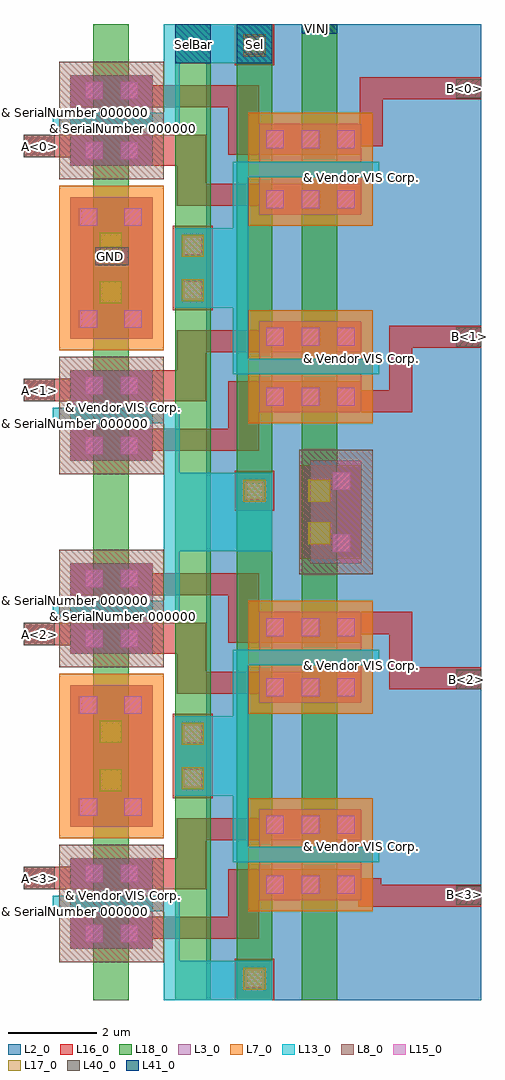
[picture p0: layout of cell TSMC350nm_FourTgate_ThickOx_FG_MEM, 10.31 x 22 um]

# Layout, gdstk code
import gdstk
lib = gdstk.Library(unit=1e-6, precision=1e-09)
def R(c, l, rs):  # rectangles x0, y0, x1, y1
    for r in rs: c.add(gdstk.rectangle(r[:2], r[2:], *l))
def A(c, l, x, y, w, h, nx, ny, dx, dy):  # array of equal rectangles
    R(c, l, [(x+i*dx, y+j*dy, x+i*dx+w, y+j*dy+h) for i in range(nx) for j in range(ny)])
L2_0 = (2, 0)
L3_0 = (3, 0)
L7_0 = (7, 0)
L8_0 = (8, 0)
L13_0 = (13, 0)
L15_0 = (15, 0)
L16_0 = (16, 0)
L17_0 = (17, 0)
L18_0 = (18, 0)
L40_0 = (40, 0)
L41_0 = (41, 0)

prog_periph_via2_cdns_73 = lib.new_cell('prog_periph_VIA2_CDNS_739479611910')
R(prog_periph_via2_cdns_73, L16_0, [(-0.45,-0.45,0.45,0.45)])
R(prog_periph_via2_cdns_73, L17_0, [(-0.25,-0.25,0.25,0.25)])
R(prog_periph_via2_cdns_73, L18_0, [(-0.4,-0.4,0.4,0.4)])

m1_poly1__190324780_cdns = lib.new_cell('M1_POLY1$$190324780_CDNS_739479611911')
R(m1_poly1__190324780_cdns, L13_0, [(-0.4,-0.4,0.4,0.4)])
R(m1_poly1__190324780_cdns, L15_0, [(-0.2,-0.2,0.2,0.2)])
R(m1_poly1__190324780_cdns, L16_0, [(-0.45,-0.45,0.45,0.45)])

tsmc350nm_fourtgate_thic = lib.new_cell('TSMC350nm_FourTgate_ThickOx_FG_MEM')
A(tsmc350nm_fourtgate_thic, L2_0, 4.11, 0, 6.2, 5.5, 1, 4, 0, 5.5)
R(tsmc350nm_fourtgate_thic, L3_0, [(1.05,1.15,2.91,1.85), (1.05,1.15,2.91,1.85), (1.05,1.85,2.91,2.5), (5.31,2.25,7.61,2.95), (5.31,2.25,7.61,2.95), (1.05,2.5,2.91,3.2), (1.05,2.5,2.91,3.2), (5.31,2.95,7.61,3.6), (5.31,3.6,7.61,4.3), (5.31,3.6,7.61,4.3), (1.05,3.9,2.91,4.8), (1.05,4.8,2.91,6.2), (1.05,6.2,2.91,7.1), (5.31,6.7,7.61,7.4), (5.31,6.7,7.61,7.4), (5.31,7.4,7.61,8.05), (1.05,7.8,2.91,8.5), (1.05,7.8,2.91,8.5), (5.31,8.05,7.61,8.75), (5.31,8.05,7.61,8.75), (1.05,8.5,2.91,9.15), (1.05,9.15,2.91,9.85), (1.05,9.15,2.91,9.85), (6.46,9.85,7.61,10.75), (6.46,10.75,7.61,11.25), (6.46,11.25,7.61,12.15), (1.05,12.15,2.91,12.85), (1.05,12.15,2.91,12.85), (1.05,12.85,2.91,13.5), (5.31,13.25,7.61,13.95), (5.31,13.25,7.61,13.95), (1.05,13.5,2.91,14.2), (1.05,13.5,2.91,14.2), (5.31,13.95,7.61,14.6), (5.31,14.6,7.61,15.3), (5.31,14.6,7.61,15.3), (1.05,14.9,2.91,15.8), (1.05,15.8,2.91,17.2), (1.05,17.2,2.91,18.1), (5.31,17.7,7.61,18.4), (5.31,17.7,7.61,18.4), (5.31,18.4,7.61,19.05), (1.05,18.8,2.91,19.5), (1.05,18.8,2.91,19.5), (5.31,19.05,7.61,19.75), (5.31,19.05,7.61,19.75), (1.05,19.5,2.91,20.15), (1.05,20.15,2.91,20.85), (1.05,20.15,2.91,20.85)])
R(tsmc350nm_fourtgate_thic, L7_0, [(5.06,2,7.86,4.55), (0.8,3.65,3.16,5.5), (0.8,5.5,3.16,7.35), (5.06,6.45,7.86,9), (5.06,13,7.86,15.55), (0.8,14.65,3.16,16.5), (0.8,16.5,3.16,18.35), (5.06,17.45,7.86,20)])
R(tsmc350nm_fourtgate_thic, L8_0, [(0.8,0.85,3.16,3.5), (0.8,7.5,3.16,10.15), (6.21,9.6,7.86,11), (6.21,11,7.86,12.4), (0.8,11.85,3.16,14.5), (0.8,18.5,3.16,21.15)])
R(tsmc350nm_fourtgate_thic, L13_0, [(3.16,0,5.6,0.08), (3.16,0.05,3.51,2.35), (3.51,0.08,4.8,0.88), (0.65,2,3.31,2.35), (4.71,3.1,5.06,5.4), (4.91,3.1,8.01,3.45), (3.52,4.6,5.06,5.4), (3.41,5.4,5.06,5.6), (3.52,5.6,5.06,6.4), (4.71,5.6,5.06,7.9), (4.91,7.55,8.01,7.9), (0.65,8.65,3.31,9), (3.16,8.65,3.51,10.95), (3.51,10.12,5.6,10.92), (3.16,10.92,5.6,11), (3.16,11,5.6,11.08), (3.16,11.05,3.51,13.35), (3.51,11.08,4.8,11.88), (0.65,13,3.31,13.35), (4.71,14.1,5.06,16.4), (4.91,14.1,8.01,14.45), (3.52,15.6,5.06,16.4), (3.41,16.4,5.06,16.6), (3.52,16.6,5.06,17.4), (4.71,16.6,5.06,18.9), (4.91,18.55,8.01,18.9), (0.65,19.65,3.31,20), (3.16,19.65,3.51,21.95), (3.51,21.12,4.8,21.92), (3.16,21.92,5.6,22)])
A(tsmc350nm_fourtgate_thic, L15_0, 5.46, 2.4, 0.4, 0.4, 3, 2, 0.8, 1.35)
A(tsmc350nm_fourtgate_thic, L15_0, 5.46, 6.85, 0.4, 0.4, 3, 2, 0.8, 1.35)
A(tsmc350nm_fourtgate_thic, L15_0, 5.46, 13.4, 0.4, 0.4, 3, 2, 0.8, 1.35)
A(tsmc350nm_fourtgate_thic, L15_0, 5.46, 17.85, 0.4, 0.4, 3, 2, 0.8, 1.35)
R(tsmc350nm_fourtgate_thic, L15_0, [(1.38,1.3,1.78,1.7), (2.18,1.3,2.58,1.7), (1.38,2.65,1.78,3.05), (2.18,2.65,2.58,3.05), (1.26,4.15,1.66,4.55), (2.26,4.15,2.66,4.55), (1.26,6.45,1.66,6.85), (2.26,6.45,2.66,6.85), (1.38,7.95,1.78,8.35), (2.18,7.95,2.58,8.35), (1.38,9.3,1.78,9.7), (2.18,9.3,2.58,9.7), (6.96,10.1,7.36,10.5), (6.96,11.5,7.36,11.9), (1.38,12.3,1.78,12.7), (2.18,12.3,2.58,12.7), (1.38,13.65,1.78,14.05), (2.18,13.65,2.58,14.05), (1.26,15.15,1.66,15.55), (2.26,15.15,2.66,15.55), (1.26,17.45,1.66,17.85), (2.26,17.45,2.66,17.85), (1.38,18.95,1.78,19.35), (2.18,18.95,2.58,19.35), (1.38,20.3,1.78,20.7), (2.18,20.3,2.58,20.7)])
A(tsmc350nm_fourtgate_thic, L16_0, 0, 2.5, 4.11, 0.5, 1, 4, 0, 5.5)
R(tsmc350nm_fourtgate_thic, L16_0, [(4.75,0,5.65,0.03), (1.05,1.15,2.91,1.85), (1.05,1.38,5.31,1.88), (4.61,1.8,5.31,2.95), (7.54,2.1,8.06,2.6), (7.54,2.1,10.31,2.6), (5.31,2.25,7.61,2.95), (5.31,2.25,8.06,2.75), (1.05,2.5,2.91,3.2), (2.11,2.5,4.11,3.2), (3.46,2.5,4.11,4.1), (4.11,3.6,5.31,4.1), (5.31,3.6,7.61,4.3), (1.05,3.9,2.91,5.5), (1.05,5,2.91,5.5), (3.36,5.45,4.26,5.55), (1.05,5.5,2.91,6), (1.05,5.5,2.91,7.1), (5.31,6.7,7.61,7.4), (3.46,6.9,4.11,8.5), (4.11,6.9,5.31,7.4), (8.24,7,10.31,7.5), (8.24,7.19,8.76,8.67), (1.05,7.8,2.91,8.5), (2.11,7.8,4.11,8.5), (4.61,8.05,5.31,9.2), (5.31,8.05,7.61,8.75), (5.31,8.25,8.76,8.75), (1.05,9.12,5.31,9.62), (1.05,9.15,2.91,9.85), (6.21,9.95,7.51,10.65), (7.51,9.95,7.61,10.5), (6.21,10.5,7.61,11), (6.21,11,7.61,11.5), (6.21,11.35,7.51,12.05), (7.51,11.5,7.61,12.05), (1.05,12.15,2.91,12.85), (1.05,12.38,5.31,12.88), (4.61,12.8,5.31,13.95), (5.31,13.25,7.61,13.95), (5.31,13.25,8.76,13.75), (1.05,13.5,2.91,14.2), (2.11,13.5,4.11,14.2), (3.46,13.5,4.11,15.1), (8.24,13.75,8.76,15.2), (4.11,14.6,5.31,15.1), (5.31,14.6,7.61,15.3), (8.24,14.7,10.31,15.2), (1.05,14.9,2.91,16.5), (1.05,16,2.91,16.5), (3.36,16.45,4.26,16.55), (1.05,16.5,2.91,17), (1.05,16.5,2.91,18.1), (5.31,17.7,7.61,18.4), (3.46,17.9,4.11,19.5), (4.11,17.9,5.31,18.4), (1.05,18.8,2.91,19.5), (2.11,18.8,4.11,19.5), (4.61,19.05,5.31,20.2), (5.31,19.05,7.61,19.75), (5.31,19.25,8.09,19.75), (7.57,19.25,8.09,20.8), (1.05,20.12,5.31,20.62), (1.05,20.15,2.91,20.85), (7.57,20.3,10.31,20.8), (4.75,21.97,5.65,22)])
A(tsmc350nm_fourtgate_thic, L18_0, 1.56, 0, 0.8, 5.5, 1, 4, 0, 5.5)
A(tsmc350nm_fourtgate_thic, L18_0, 3.41, 0, 0.8, 5.5, 1, 4, 0, 5.5)
A(tsmc350nm_fourtgate_thic, L18_0, 4.8, 0, 0.8, 5.5, 1, 4, 0, 5.5)
A(tsmc350nm_fourtgate_thic, L18_0, 6.26, 0, 0.8, 5.5, 1, 4, 0, 5.5)
A(tsmc350nm_fourtgate_thic, L40_0, 0, 2.5, 0.7, 0.5, 1, 4, 0, 5.5)
R(tsmc350nm_fourtgate_thic, L40_0, [(9.75,2.15,10.31,2.58), (9.75,7.01,10.31,7.44), (9.75,14.73,10.31,15.16), (1.61,16.56,2.36,16.97), (9.75,20.33,10.31,20.76)])
R(tsmc350nm_fourtgate_thic, L41_0, [(3.41,21.12,4.21,22), (4.8,21.12,5.6,22), (6.26,21.78,7.06,22)])
tsmc350nm_fourtgate_thic.add(gdstk.Reference(prog_periph_via2_cdns_73, (5.2,0.48), x_reflection=True))
tsmc350nm_fourtgate_thic.add(gdstk.Reference(prog_periph_via2_cdns_73, (3.81,6)))
tsmc350nm_fourtgate_thic.add(gdstk.Reference(prog_periph_via2_cdns_73, (6.66,10.52)))
tsmc350nm_fourtgate_thic.add(gdstk.Reference(prog_periph_via2_cdns_73, (1.96,6.05)))
tsmc350nm_fourtgate_thic.add(gdstk.Reference(prog_periph_via2_cdns_73, (3.81,5), x_reflection=True))
tsmc350nm_fourtgate_thic.add(gdstk.Reference(prog_periph_via2_cdns_73, (1.96,4.95), x_reflection=True))
tsmc350nm_fourtgate_thic.add(gdstk.Reference(prog_periph_via2_cdns_73, (5.2,21.52)))
tsmc350nm_fourtgate_thic.add(gdstk.Reference(prog_periph_via2_cdns_73, (3.81,17)))
tsmc350nm_fourtgate_thic.add(gdstk.Reference(prog_periph_via2_cdns_73, (5.2,11.48), x_reflection=True))
tsmc350nm_fourtgate_thic.add(gdstk.Reference(prog_periph_via2_cdns_73, (3.81,16), x_reflection=True))
tsmc350nm_fourtgate_thic.add(gdstk.Reference(prog_periph_via2_cdns_73, (1.96,17.05)))
tsmc350nm_fourtgate_thic.add(gdstk.Reference(prog_periph_via2_cdns_73, (6.66,11.48), x_reflection=True))
tsmc350nm_fourtgate_thic.add(gdstk.Reference(prog_periph_via2_cdns_73, (1.96,15.95), x_reflection=True))
tsmc350nm_fourtgate_thic.add(gdstk.Reference(m1_poly1__190324780_cdns, (3.81,6)))
tsmc350nm_fourtgate_thic.add(gdstk.Reference(m1_poly1__190324780_cdns, (5.2,0.48), x_reflection=True))
tsmc350nm_fourtgate_thic.add(gdstk.Reference(m1_poly1__190324780_cdns, (3.81,5), x_reflection=True))
tsmc350nm_fourtgate_thic.add(gdstk.Reference(m1_poly1__190324780_cdns, (5.2,21.52)))
tsmc350nm_fourtgate_thic.add(gdstk.Reference(m1_poly1__190324780_cdns, (3.81,17)))
tsmc350nm_fourtgate_thic.add(gdstk.Reference(m1_poly1__190324780_cdns, (5.2,11.48), x_reflection=True))
tsmc350nm_fourtgate_thic.add(gdstk.Reference(m1_poly1__190324780_cdns, (3.81,16), x_reflection=True))
tsmc350nm_fourtgate_thic.add(gdstk.Label('& SerialNumber 000000', (1.05,9), layer=63, texttype=63))
tsmc350nm_fourtgate_thic.add(gdstk.Label('& Distributor VIS', (1.05,9), layer=63, texttype=63))
tsmc350nm_fourtgate_thic.add(gdstk.Label('& Metric 1', (1.05,9), layer=63, texttype=63))
tsmc350nm_fourtgate_thic.add(gdstk.Label('& Version    \t  1.7A', (1.05,9), layer=63, texttype=63))
tsmc350nm_fourtgate_thic.add(gdstk.Label('& PDKName     vis35cv', (1.05,9), layer=63, texttype=63))
tsmc350nm_fourtgate_thic.add(gdstk.Label('& Vendor VIS Corp.', (1.05,9), layer=63, texttype=63))
tsmc350nm_fourtgate_thic.add(gdstk.Label('& SerialNumber 000000', (2.25,8.65), layer=63, texttype=63))
tsmc350nm_fourtgate_thic.add(gdstk.Label('& Distributor VIS', (2.25,8.65), layer=63, texttype=63))
tsmc350nm_fourtgate_thic.add(gdstk.Label('& Metric 1', (2.25,8.65), layer=63, texttype=63))
tsmc350nm_fourtgate_thic.add(gdstk.Label('& Version    \t  1.7A', (2.25,8.65), layer=63, texttype=63))
tsmc350nm_fourtgate_thic.add(gdstk.Label('& PDKName     vis35cv', (2.25,8.65), layer=63, texttype=63))
tsmc350nm_fourtgate_thic.add(gdstk.Label('& Vendor VIS Corp.', (2.25,8.65), layer=63, texttype=63))
tsmc350nm_fourtgate_thic.add(gdstk.Label('& Vendor VIS Corp.', (7.61,7.55), layer=63, texttype=63))
tsmc350nm_fourtgate_thic.add(gdstk.Label('& PDKName     vis35cv', (7.61,7.55), layer=63, texttype=63))
tsmc350nm_fourtgate_thic.add(gdstk.Label('& Version    \t  1.7A', (7.61,7.55), layer=63, texttype=63))
tsmc350nm_fourtgate_thic.add(gdstk.Label('& Metric 1', (7.61,7.55), layer=63, texttype=63))
tsmc350nm_fourtgate_thic.add(gdstk.Label('& Distributor VIS', (7.61,7.55), layer=63, texttype=63))
tsmc350nm_fourtgate_thic.add(gdstk.Label('& SerialNumber 000000', (7.61,7.55), layer=63, texttype=63))
tsmc350nm_fourtgate_thic.add(gdstk.Label('& Vendor VIS Corp.', (7.61,3.45), layer=63, texttype=63))
tsmc350nm_fourtgate_thic.add(gdstk.Label('& PDKName     vis35cv', (7.61,3.45), layer=63, texttype=63))
tsmc350nm_fourtgate_thic.add(gdstk.Label('& Version    \t  1.7A', (7.61,3.45), layer=63, texttype=63))
tsmc350nm_fourtgate_thic.add(gdstk.Label('& Metric 1', (7.61,3.45), layer=63, texttype=63))
tsmc350nm_fourtgate_thic.add(gdstk.Label('& Distributor VIS', (7.61,3.45), layer=63, texttype=63))
tsmc350nm_fourtgate_thic.add(gdstk.Label('& SerialNumber 000000', (7.61,3.45), layer=63, texttype=63))
tsmc350nm_fourtgate_thic.add(gdstk.Label('& SerialNumber 000000', (1.05,2), layer=63, texttype=63))
tsmc350nm_fourtgate_thic.add(gdstk.Label('& Vendor VIS Corp.', (1.05,2), layer=63, texttype=63))
tsmc350nm_fourtgate_thic.add(gdstk.Label('& PDKName     vis35cv', (1.05,2), layer=63, texttype=63))
tsmc350nm_fourtgate_thic.add(gdstk.Label('& Version    \t  1.7A', (1.05,2), layer=63, texttype=63))
tsmc350nm_fourtgate_thic.add(gdstk.Label('& Metric 1', (1.05,2), layer=63, texttype=63))
tsmc350nm_fourtgate_thic.add(gdstk.Label('& Distributor VIS', (1.05,2), layer=63, texttype=63))
tsmc350nm_fourtgate_thic.add(gdstk.Label('& Vendor VIS Corp.', (2.25,2.35), layer=63, texttype=63))
tsmc350nm_fourtgate_thic.add(gdstk.Label('& PDKName     vis35cv', (2.25,2.35), layer=63, texttype=63))
tsmc350nm_fourtgate_thic.add(gdstk.Label('& Version    \t  1.7A', (2.25,2.35), layer=63, texttype=63))
tsmc350nm_fourtgate_thic.add(gdstk.Label('& Metric 1', (2.25,2.35), layer=63, texttype=63))
tsmc350nm_fourtgate_thic.add(gdstk.Label('& Distributor VIS', (2.25,2.35), layer=63, texttype=63))
tsmc350nm_fourtgate_thic.add(gdstk.Label('& SerialNumber 000000', (2.25,2.35), layer=63, texttype=63))
tsmc350nm_fourtgate_thic.add(gdstk.Label('& SerialNumber 000000', (1.05,20), layer=63, texttype=63))
tsmc350nm_fourtgate_thic.add(gdstk.Label('& Distributor VIS', (1.05,20), layer=63, texttype=63))
tsmc350nm_fourtgate_thic.add(gdstk.Label('& Metric 1', (1.05,20), layer=63, texttype=63))
tsmc350nm_fourtgate_thic.add(gdstk.Label('& Version    \t  1.7A', (1.05,20), layer=63, texttype=63))
tsmc350nm_fourtgate_thic.add(gdstk.Label('& PDKName     vis35cv', (1.05,20), layer=63, texttype=63))
tsmc350nm_fourtgate_thic.add(gdstk.Label('& Vendor VIS Corp.', (1.05,20), layer=63, texttype=63))
tsmc350nm_fourtgate_thic.add(gdstk.Label('& SerialNumber 000000', (2.25,19.65), layer=63, texttype=63))
tsmc350nm_fourtgate_thic.add(gdstk.Label('& Distributor VIS', (2.25,19.65), layer=63, texttype=63))
tsmc350nm_fourtgate_thic.add(gdstk.Label('& Metric 1', (2.25,19.65), layer=63, texttype=63))
tsmc350nm_fourtgate_thic.add(gdstk.Label('& Version    \t  1.7A', (2.25,19.65), layer=63, texttype=63))
tsmc350nm_fourtgate_thic.add(gdstk.Label('& PDKName     vis35cv', (2.25,19.65), layer=63, texttype=63))
tsmc350nm_fourtgate_thic.add(gdstk.Label('& Vendor VIS Corp.', (2.25,19.65), layer=63, texttype=63))
tsmc350nm_fourtgate_thic.add(gdstk.Label('& Vendor VIS Corp.', (7.61,18.55), layer=63, texttype=63))
tsmc350nm_fourtgate_thic.add(gdstk.Label('& PDKName     vis35cv', (7.61,18.55), layer=63, texttype=63))
tsmc350nm_fourtgate_thic.add(gdstk.Label('& Version    \t  1.7A', (7.61,18.55), layer=63, texttype=63))
tsmc350nm_fourtgate_thic.add(gdstk.Label('& Metric 1', (7.61,18.55), layer=63, texttype=63))
tsmc350nm_fourtgate_thic.add(gdstk.Label('& Distributor VIS', (7.61,18.55), layer=63, texttype=63))
tsmc350nm_fourtgate_thic.add(gdstk.Label('& SerialNumber 000000', (7.61,18.55), layer=63, texttype=63))
tsmc350nm_fourtgate_thic.add(gdstk.Label('& Vendor VIS Corp.', (7.61,14.45), layer=63, texttype=63))
tsmc350nm_fourtgate_thic.add(gdstk.Label('& PDKName     vis35cv', (7.61,14.45), layer=63, texttype=63))
tsmc350nm_fourtgate_thic.add(gdstk.Label('& Version    \t  1.7A', (7.61,14.45), layer=63, texttype=63))
tsmc350nm_fourtgate_thic.add(gdstk.Label('& Metric 1', (7.61,14.45), layer=63, texttype=63))
tsmc350nm_fourtgate_thic.add(gdstk.Label('& Distributor VIS', (7.61,14.45), layer=63, texttype=63))
tsmc350nm_fourtgate_thic.add(gdstk.Label('& SerialNumber 000000', (7.61,14.45), layer=63, texttype=63))
tsmc350nm_fourtgate_thic.add(gdstk.Label('& SerialNumber 000000', (1.05,13), layer=63, texttype=63))
tsmc350nm_fourtgate_thic.add(gdstk.Label('& Vendor VIS Corp.', (1.05,13), layer=63, texttype=63))
tsmc350nm_fourtgate_thic.add(gdstk.Label('& PDKName     vis35cv', (1.05,13), layer=63, texttype=63))
tsmc350nm_fourtgate_thic.add(gdstk.Label('& Version    \t  1.7A', (1.05,13), layer=63, texttype=63))
tsmc350nm_fourtgate_thic.add(gdstk.Label('& Metric 1', (1.05,13), layer=63, texttype=63))
tsmc350nm_fourtgate_thic.add(gdstk.Label('& Distributor VIS', (1.05,13), layer=63, texttype=63))
tsmc350nm_fourtgate_thic.add(gdstk.Label('& Vendor VIS Corp.', (2.25,13.35), layer=63, texttype=63))
tsmc350nm_fourtgate_thic.add(gdstk.Label('& PDKName     vis35cv', (2.25,13.35), layer=63, texttype=63))
tsmc350nm_fourtgate_thic.add(gdstk.Label('& Version    \t  1.7A', (2.25,13.35), layer=63, texttype=63))
tsmc350nm_fourtgate_thic.add(gdstk.Label('& Metric 1', (2.25,13.35), layer=63, texttype=63))
tsmc350nm_fourtgate_thic.add(gdstk.Label('& Distributor VIS', (2.25,13.35), layer=63, texttype=63))
tsmc350nm_fourtgate_thic.add(gdstk.Label('& SerialNumber 000000', (2.25,13.35), layer=63, texttype=63))
tsmc350nm_fourtgate_thic.add(gdstk.Label('& SerialNumber 000000', (1.05,9), layer=16, texttype=0))
tsmc350nm_fourtgate_thic.add(gdstk.Label('& Distributor VIS', (1.05,9), layer=16, texttype=0))
tsmc350nm_fourtgate_thic.add(gdstk.Label('& Metric 1', (1.05,9), layer=16, texttype=0))
tsmc350nm_fourtgate_thic.add(gdstk.Label('& Version    \t  1.7A', (1.05,9), layer=16, texttype=0))
tsmc350nm_fourtgate_thic.add(gdstk.Label('& PDKName     vis35cv', (1.05,9), layer=16, texttype=0))
tsmc350nm_fourtgate_thic.add(gdstk.Label('& Vendor VIS Corp.', (1.05,9), layer=16, texttype=0))
tsmc350nm_fourtgate_thic.add(gdstk.Label('& SerialNumber 000000', (2.25,8.65), layer=16, texttype=0))
tsmc350nm_fourtgate_thic.add(gdstk.Label('& Distributor VIS', (2.25,8.65), layer=16, texttype=0))
tsmc350nm_fourtgate_thic.add(gdstk.Label('& Metric 1', (2.25,8.65), layer=16, texttype=0))
tsmc350nm_fourtgate_thic.add(gdstk.Label('& Version    \t  1.7A', (2.25,8.65), layer=16, texttype=0))
tsmc350nm_fourtgate_thic.add(gdstk.Label('& PDKName     vis35cv', (2.25,8.65), layer=16, texttype=0))
tsmc350nm_fourtgate_thic.add(gdstk.Label('& Vendor VIS Corp.', (2.25,8.65), layer=16, texttype=0))
tsmc350nm_fourtgate_thic.add(gdstk.Label('& SerialNumber 000000', (7.61,7.55), layer=16, texttype=0))
tsmc350nm_fourtgate_thic.add(gdstk.Label('& Vendor VIS Corp.', (7.61,7.55), layer=16, texttype=0))
tsmc350nm_fourtgate_thic.add(gdstk.Label('& PDKName     vis35cv', (7.61,7.55), layer=16, texttype=0))
tsmc350nm_fourtgate_thic.add(gdstk.Label('& Version    \t  1.7A', (7.61,7.55), layer=16, texttype=0))
tsmc350nm_fourtgate_thic.add(gdstk.Label('& Metric 1', (7.61,7.55), layer=16, texttype=0))
tsmc350nm_fourtgate_thic.add(gdstk.Label('& Distributor VIS', (7.61,7.55), layer=16, texttype=0))
tsmc350nm_fourtgate_thic.add(gdstk.Label('& SerialNumber 000000', (1.05,2), layer=16, texttype=0))
tsmc350nm_fourtgate_thic.add(gdstk.Label('& Distributor VIS', (1.05,2), layer=16, texttype=0))
tsmc350nm_fourtgate_thic.add(gdstk.Label('& Metric 1', (1.05,2), layer=16, texttype=0))
tsmc350nm_fourtgate_thic.add(gdstk.Label('& Version    \t  1.7A', (1.05,2), layer=16, texttype=0))
tsmc350nm_fourtgate_thic.add(gdstk.Label('& PDKName     vis35cv', (1.05,2), layer=16, texttype=0))
tsmc350nm_fourtgate_thic.add(gdstk.Label('& Vendor VIS Corp.', (1.05,2), layer=16, texttype=0))
tsmc350nm_fourtgate_thic.add(gdstk.Label('& SerialNumber 000000', (2.25,2.35), layer=16, texttype=0))
tsmc350nm_fourtgate_thic.add(gdstk.Label('& Distributor VIS', (2.25,2.35), layer=16, texttype=0))
tsmc350nm_fourtgate_thic.add(gdstk.Label('& Metric 1', (2.25,2.35), layer=16, texttype=0))
tsmc350nm_fourtgate_thic.add(gdstk.Label('& Version    \t  1.7A', (2.25,2.35), layer=16, texttype=0))
tsmc350nm_fourtgate_thic.add(gdstk.Label('& PDKName     vis35cv', (2.25,2.35), layer=16, texttype=0))
tsmc350nm_fourtgate_thic.add(gdstk.Label('& Vendor VIS Corp.', (2.25,2.35), layer=16, texttype=0))
tsmc350nm_fourtgate_thic.add(gdstk.Label('& SerialNumber 000000', (7.61,3.45), layer=16, texttype=0))
tsmc350nm_fourtgate_thic.add(gdstk.Label('& Vendor VIS Corp.', (7.61,3.45), layer=16, texttype=0))
tsmc350nm_fourtgate_thic.add(gdstk.Label('& PDKName     vis35cv', (7.61,3.45), layer=16, texttype=0))
tsmc350nm_fourtgate_thic.add(gdstk.Label('& Version    \t  1.7A', (7.61,3.45), layer=16, texttype=0))
tsmc350nm_fourtgate_thic.add(gdstk.Label('& Metric 1', (7.61,3.45), layer=16, texttype=0))
tsmc350nm_fourtgate_thic.add(gdstk.Label('& Distributor VIS', (7.61,3.45), layer=16, texttype=0))
tsmc350nm_fourtgate_thic.add(gdstk.Label('& SerialNumber 000000', (1.05,13), layer=16, texttype=0))
tsmc350nm_fourtgate_thic.add(gdstk.Label('& Distributor VIS', (1.05,13), layer=16, texttype=0))
tsmc350nm_fourtgate_thic.add(gdstk.Label('& Metric 1', (1.05,13), layer=16, texttype=0))
tsmc350nm_fourtgate_thic.add(gdstk.Label('& Version    \t  1.7A', (1.05,13), layer=16, texttype=0))
tsmc350nm_fourtgate_thic.add(gdstk.Label('& PDKName     vis35cv', (1.05,13), layer=16, texttype=0))
tsmc350nm_fourtgate_thic.add(gdstk.Label('& Vendor VIS Corp.', (1.05,13), layer=16, texttype=0))
tsmc350nm_fourtgate_thic.add(gdstk.Label('& SerialNumber 000000', (2.25,13.35), layer=16, texttype=0))
tsmc350nm_fourtgate_thic.add(gdstk.Label('& Distributor VIS', (2.25,13.35), layer=16, texttype=0))
tsmc350nm_fourtgate_thic.add(gdstk.Label('& Metric 1', (2.25,13.35), layer=16, texttype=0))
tsmc350nm_fourtgate_thic.add(gdstk.Label('& Version    \t  1.7A', (2.25,13.35), layer=16, texttype=0))
tsmc350nm_fourtgate_thic.add(gdstk.Label('& PDKName     vis35cv', (2.25,13.35), layer=16, texttype=0))
tsmc350nm_fourtgate_thic.add(gdstk.Label('& Vendor VIS Corp.', (2.25,13.35), layer=16, texttype=0))
tsmc350nm_fourtgate_thic.add(gdstk.Label('& SerialNumber 000000', (7.61,14.45), layer=16, texttype=0))
tsmc350nm_fourtgate_thic.add(gdstk.Label('& Vendor VIS Corp.', (7.61,14.45), layer=16, texttype=0))
tsmc350nm_fourtgate_thic.add(gdstk.Label('& PDKName     vis35cv', (7.61,14.45), layer=16, texttype=0))
tsmc350nm_fourtgate_thic.add(gdstk.Label('& Version    \t  1.7A', (7.61,14.45), layer=16, texttype=0))
tsmc350nm_fourtgate_thic.add(gdstk.Label('& Metric 1', (7.61,14.45), layer=16, texttype=0))
tsmc350nm_fourtgate_thic.add(gdstk.Label('& Distributor VIS', (7.61,14.45), layer=16, texttype=0))
tsmc350nm_fourtgate_thic.add(gdstk.Label('& SerialNumber 000000', (7.61,18.55), layer=16, texttype=0))
tsmc350nm_fourtgate_thic.add(gdstk.Label('& Vendor VIS Corp.', (7.61,18.55), layer=16, texttype=0))
tsmc350nm_fourtgate_thic.add(gdstk.Label('& PDKName     vis35cv', (7.61,18.55), layer=16, texttype=0))
tsmc350nm_fourtgate_thic.add(gdstk.Label('& Version    \t  1.7A', (7.61,18.55), layer=16, texttype=0))
tsmc350nm_fourtgate_thic.add(gdstk.Label('& Metric 1', (7.61,18.55), layer=16, texttype=0))
tsmc350nm_fourtgate_thic.add(gdstk.Label('& Distributor VIS', (7.61,18.55), layer=16, texttype=0))
tsmc350nm_fourtgate_thic.add(gdstk.Label('& SerialNumber 000000', (2.25,19.65), layer=16, texttype=0))
tsmc350nm_fourtgate_thic.add(gdstk.Label('& Distributor VIS', (2.25,19.65), layer=16, texttype=0))
tsmc350nm_fourtgate_thic.add(gdstk.Label('& Metric 1', (2.25,19.65), layer=16, texttype=0))
tsmc350nm_fourtgate_thic.add(gdstk.Label('& Version    \t  1.7A', (2.25,19.65), layer=16, texttype=0))
tsmc350nm_fourtgate_thic.add(gdstk.Label('& PDKName     vis35cv', (2.25,19.65), layer=16, texttype=0))
tsmc350nm_fourtgate_thic.add(gdstk.Label('& Vendor VIS Corp.', (2.25,19.65), layer=16, texttype=0))
tsmc350nm_fourtgate_thic.add(gdstk.Label('& Distributor VIS', (1.05,20), layer=16, texttype=0))
tsmc350nm_fourtgate_thic.add(gdstk.Label('& Metric 1', (1.05,20), layer=16, texttype=0))
tsmc350nm_fourtgate_thic.add(gdstk.Label('& Version    \t  1.7A', (1.05,20), layer=16, texttype=0))
tsmc350nm_fourtgate_thic.add(gdstk.Label('& PDKName     vis35cv', (1.05,20), layer=16, texttype=0))
tsmc350nm_fourtgate_thic.add(gdstk.Label('& Vendor VIS Corp.', (1.05,20), layer=16, texttype=0))
tsmc350nm_fourtgate_thic.add(gdstk.Label('& SerialNumber 000000', (1.05,20), layer=16, texttype=0))
tsmc350nm_fourtgate_thic.add(gdstk.Label('B<2>', (9.98,7.22), layer=40, texttype=0))
tsmc350nm_fourtgate_thic.add(gdstk.Label('A<2>', (0.35,8.25), layer=40, texttype=0))
tsmc350nm_fourtgate_thic.add(gdstk.Label('B<3>', (9.93,2.37), layer=40, texttype=0))
tsmc350nm_fourtgate_thic.add(gdstk.Label('A<3>', (0.35,2.75), layer=40, texttype=0))
tsmc350nm_fourtgate_thic.add(gdstk.Label('GND', (1.96,16.76), layer=40, texttype=0))
tsmc350nm_fourtgate_thic.add(gdstk.Label('B<0>', (9.93,20.54), layer=40, texttype=0))
tsmc350nm_fourtgate_thic.add(gdstk.Label('A<0>', (0.35,19.25), layer=40, texttype=0))
tsmc350nm_fourtgate_thic.add(gdstk.Label('B<1>', (10.05,14.95), layer=40, texttype=0))
tsmc350nm_fourtgate_thic.add(gdstk.Label('A<1>', (0.35,13.75), layer=40, texttype=0))
tsmc350nm_fourtgate_thic.add(gdstk.Label('SelBar', (3.82,21.53), layer=41, texttype=0))
tsmc350nm_fourtgate_thic.add(gdstk.Label('Sel', (5.2,21.53), layer=41, texttype=0))
tsmc350nm_fourtgate_thic.add(gdstk.Label('VINJ', (6.62,21.9), layer=41, texttype=0))

lib.write_gds('TSMC350nm_FourTgate_ThickOx_FG_MEM.gds')
